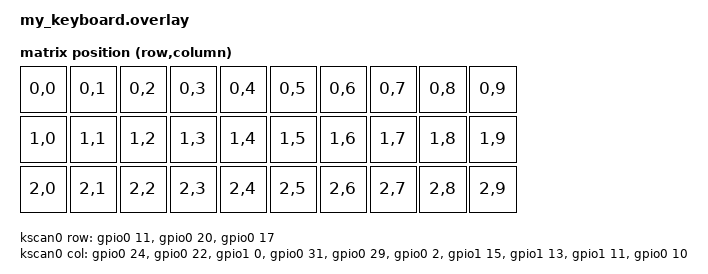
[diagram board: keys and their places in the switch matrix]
#include <dt-bindings/zmk/matrix_transform.h>

/ {
    chosen {
        zmk,kscan = &kscan0;
        zmk,matrix_transform = &default_matrix_transform;
    };

    default_matrix_transform: keymap_transform_0 {
        compatible = "zmk,matrix-transform";
        rows = <3>;
        columns = <10>;
        map = <
            RC(0,0) RC(0,1) RC(0,2) RC(0,3) RC(0,4) RC(0,5) RC(0,6) RC(0,7) RC(0,8) RC(0,9)
            RC(1,0) RC(1,1) RC(1,2) RC(1,3) RC(1,4) RC(1,5) RC(1,6) RC(1,7) RC(1,8) RC(1,9)
            RC(2,0) RC(2,1) RC(2,2) RC(2,3) RC(2,4) RC(2,5) RC(2,6) RC(2,7) RC(2,8) RC(2,9)
        >;
    };

    kscan0: kscan {
        compatible = "zmk,kscan-gpio-matrix";
        diode-direction = "col2row";
        label = "KSCAN";

        // 行GPIO配置 - 使用您成功的模板
        row-gpios = 
                    <&gpio0 11 (GPIO_ACTIVE_LOW | GPIO_PULL_UP)>,
                    <&gpio0 20 (GPIO_ACTIVE_LOW | GPIO_PULL_UP)>,
                    <&gpio0 17 (GPIO_ACTIVE_LOW | GPIO_PULL_UP)>
                    ;

        // 列GPIO配置 - 使用您成功的模板
        col-gpios = <&gpio0 24 (GPIO_ACTIVE_LOW | GPIO_PULL_UP)>,
                    <&gpio0 22 (GPIO_ACTIVE_LOW | GPIO_PULL_UP)>,
                    <&gpio1 0 (GPIO_ACTIVE_LOW | GPIO_PULL_UP)>,
                    <&gpio0 31 (GPIO_ACTIVE_LOW | GPIO_PULL_UP)>,
                    <&gpio0 29 (GPIO_ACTIVE_LOW | GPIO_PULL_UP)>,
                    <&gpio0 2 (GPIO_ACTIVE_LOW | GPIO_PULL_UP)>,
                    <&gpio1 15 (GPIO_ACTIVE_LOW | GPIO_PULL_UP)>,
                    <&gpio1 13 (GPIO_ACTIVE_LOW | GPIO_PULL_UP)>,
                    <&gpio1 11 (GPIO_ACTIVE_LOW | GPIO_PULL_UP)>,
                    <&gpio0 10 (GPIO_ACTIVE_LOW | GPIO_PULL_UP)>
                    ;
    };
};
